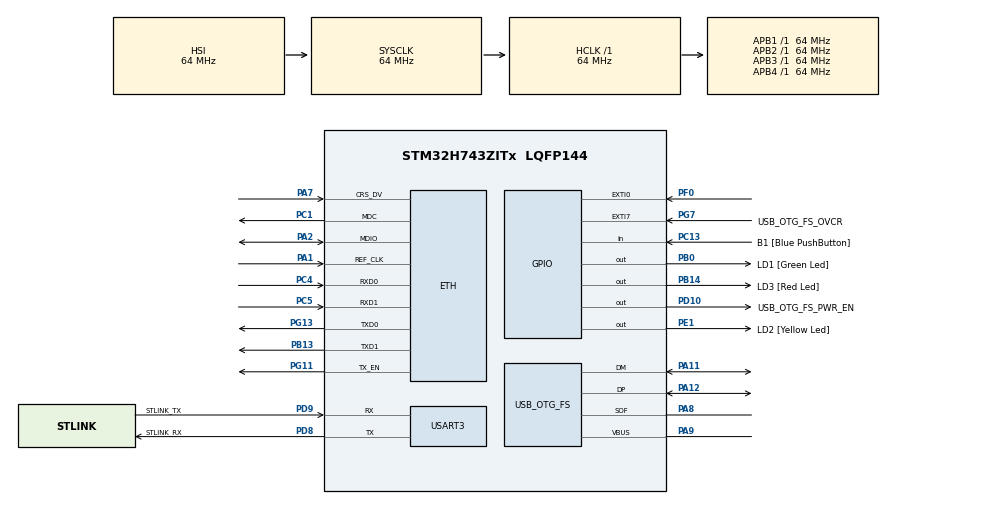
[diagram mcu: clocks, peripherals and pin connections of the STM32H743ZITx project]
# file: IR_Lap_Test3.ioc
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ETH.MediaInterface=HAL_ETH_RMII_MODE
Mcu.Family=STM32H7
Mcu.Name=STM32H743ZITx
Mcu.Package=LQFP144
NVIC.EXTI0_IRQn=true\:0\:0\:false\:false\:true\:true\:true\:true
NVIC.PriorityGroup=NVIC_PRIORITYGROUP_4
PA1.Mode=RMII
PA1.Signal=ETH_REF_CLK
PA11.Mode=Device_Only
PA11.Signal=USB_OTG_FS_DM
PA12.Mode=Device_Only
PA12.Signal=USB_OTG_FS_DP
PA2.Mode=RMII
PA2.Signal=ETH_MDIO
PA7.Mode=RMII
PA7.Signal=ETH_CRS_DV
PA8.Mode=Activate_SOF_FS
PA8.Signal=USB_OTG_FS_SOF
PA9.Mode=Activate_VBUS
PA9.Signal=USB_OTG_FS_VBUS
PB0.GPIO_Label=LD1 [Green Led]
PB0.Signal=GPIO_Output
PB13.Mode=RMII
PB13.Signal=ETH_TXD1
PB14.GPIO_Label=LD3 [Red Led]
PB14.Signal=GPIO_Output
PC1.Mode=RMII
PC1.Signal=ETH_MDC
PC13.GPIO_Label=B1 [Blue PushButton]
PC13.Signal=GPIO_Input
PC14-OSC32_IN\ (OSC32_IN).Mode=LSE-External-Oscillator
PC14-OSC32_IN\ (OSC32_IN).Signal=RCC_OSC32_IN
PC15-OSC32_OUT\ (OSC32_OUT).Mode=LSE-External-Oscillator
PC15-OSC32_OUT\ (OSC32_OUT).Signal=RCC_OSC32_OUT
PC4.Mode=RMII
PC4.Signal=ETH_RXD0
PC5.Mode=RMII
PC5.Signal=ETH_RXD1
PD10.GPIO_Label=USB_OTG_FS_PWR_EN
PD10.Signal=GPIO_Output
PD8.GPIO_Label=STLINK_RX
PD8.Mode=Asynchronous
PD8.Signal=USART3_TX
PD9.GPIO_Label=STLINK_TX
PD9.Mode=Asynchronous
PD9.Signal=USART3_RX
PE1.GPIO_Label=LD2 [Yellow Led]
PE1.Signal=GPIO_Output
PF0.GPIO_ModeDefaultEXTI=GPIO_MODE_IT_FALLING
PF0.Signal=GPXTI0
PG11.Mode=RMII
PG11.Signal=ETH_TX_EN
PG13.Mode=RMII
PG13.Signal=ETH_TXD0
PG7.GPIO_Label=USB_OTG_FS_OVCR
PG7.Signal=GPXTI7
PH0-OSC_IN\ (PH0).Mode=HSE-External-Clock-Source
PH0-OSC_IN\ (PH0).Signal=RCC_OSC_IN
PH1-OSC_OUT\ (PH1).Signal=RCC_OSC_OUT
ProjectManager.HeapSize=0x200
ProjectManager.StackSize=0x400
ProjectManager.TargetToolchain=STM32CubeIDE
RCC.ADCFreq_Value=16125000
RCC.APB1Freq_Value=64000000
RCC.APB2Freq_Value=64000000
RCC.APB3Freq_Value=64000000
RCC.APB4Freq_Value=64000000
RCC.CortexFreq_Value=64000000
RCC.DIVM1=1
RCC.DIVN1=24
RCC.DIVQ1=4
RCC.HCLKFreq_Value=64000000
RCC.HSE_VALUE=8000000
RCC.PLLFRACN=0
RCC.PWR_Regulator_Voltage_Scale=PWR_REGULATOR_VOLTAGE_SCALE2
RCC.SYSCLKFreq_VALUE=64000000
RCC.USBFreq_Value=48000000
TIM2.Prescaler=64000-1
USART3.VirtualMode-Asynchronous=VM_ASYNC
USB_OTG_FS.VirtualMode=Device_Only
VP_TIM2_VS_ClockSourceINT.Mode=Internal
board=NUCLEO-H743ZI2

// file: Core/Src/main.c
/* USER CODE BEGIN Header */
/**
  ******************************************************************************
  * @file           : main.c
  * @brief          : Main program body
  ******************************************************************************
  * @attention
  *
  * Copyright (c) 2023 STMicroelectronics.
  * All rights reserved.
  *
  * This software is licensed under terms that can be found in the LICENSE file
  * in the root directory of this software component.
  * If no LICENSE file comes with this software, it is provided AS-IS.
  *
  ******************************************************************************
  */
/* USER CODE END Header */
#include "main.h"
#include "string.h"

/* USER CODE BEGIN Includes */
#include <stdio.h>

/* USER CODE END Includes */

/* USER CODE BEGIN PTD */
void printer(uint32_t runTime, uint8_t lapNumber);
void messanger(char* message);
void EXTI0_IRQHandler(void);

//GLOBAL VARIABLES FOR KEEPING TRACK OF BEST TIME AND LAP ASWELL AS LAP NUMBER
uint32_t lapNumber = 1;
uint32_t bestLap = 1;
uint32_t bestTime = 99999999;
/* USER CODE END PTD */

#if defined ( __ICCARM__ ) /*!< IAR Compiler */
#pragma location=0x30000000
ETH_DMADescTypeDef  DMARxDscrTab[ETH_RX_DESC_CNT]; /* Ethernet Rx DMA Descriptors */
#pragma location=0x30000200
ETH_DMADescTypeDef  DMATxDscrTab[ETH_TX_DESC_CNT]; /* Ethernet Tx DMA Descriptors */

#elif defined ( __CC_ARM )  /* MDK ARM Compiler */

__attribute__((at(0x30000000))) ETH_DMADescTypeDef  DMARxDscrTab[ETH_RX_DESC_CNT]; /* Ethernet Rx DMA Descriptors */
__attribute__((at(0x30000200))) ETH_DMADescTypeDef  DMATxDscrTab[ETH_TX_DESC_CNT]; /* Ethernet Tx DMA Descriptors */

#elif defined ( __GNUC__ ) /* GNU Compiler */
ETH_DMADescTypeDef DMARxDscrTab[ETH_RX_DESC_CNT] __attribute__((section(".RxDecripSection"))); /* Ethernet Rx DMA Descriptors */
ETH_DMADescTypeDef DMATxDscrTab[ETH_TX_DESC_CNT] __attribute__((section(".TxDecripSection")));   /* Ethernet Tx DMA Descriptors */

#endif

ETH_TxPacketConfig TxConfig;

ETH_HandleTypeDef heth;

TIM_HandleTypeDef htim2;

UART_HandleTypeDef huart3;

PCD_HandleTypeDef hpcd_USB_OTG_FS;

void SystemClock_Config(void);
static void MX_GPIO_Init(void);
static void MX_ETH_Init(void);
static void MX_USART3_UART_Init(void);
static void MX_USB_OTG_FS_PCD_Init(void);
static void MX_TIM2_Init(void);

int main(void)
{

  /* MCU Configuration--------------------------------------------------------*/

  /* Reset of all peripherals, Initializes the Flash interface and the Systick. */
  HAL_Init();

  /* Configure the system clock */
  SystemClock_Config();

  /* Initialize all configured peripherals */
  MX_GPIO_Init();
  MX_ETH_Init();
  MX_USART3_UART_Init();
  MX_USB_OTG_FS_PCD_Init();
  MX_TIM2_Init();
  /* USER CODE BEGIN 2 */
  //START THE TIMER FOR THE FIRST LAP
  HAL_TIM_Base_Start_IT(&htim2);
  /* USER CODE END 2 */

  /* Infinite loop */
  while (1)
  {

  }
}

void SystemClock_Config(void)
{
  RCC_OscInitTypeDef RCC_OscInitStruct = {0};
  RCC_ClkInitTypeDef RCC_ClkInitStruct = {0};

  /** Supply configuration update enable
  */
  HAL_PWREx_ConfigSupply(PWR_LDO_SUPPLY);

  /** Configure the main internal regulator output voltage
  */
  __HAL_PWR_VOLTAGESCALING_CONFIG(PWR_REGULATOR_VOLTAGE_SCALE2);

  while(!__HAL_PWR_GET_FLAG(PWR_FLAG_VOSRDY)) {}

  /** Initializes the RCC Oscillators according to the specified parameters
  * in the RCC_OscInitTypeDef structure.
  */
  RCC_OscInitStruct.OscillatorType = RCC_OSCILLATORTYPE_HSI|RCC_OSCILLATORTYPE_HSE;
  RCC_OscInitStruct.HSEState = RCC_HSE_BYPASS;
  RCC_OscInitStruct.HSIState = RCC_HSI_DIV1;
  RCC_OscInitStruct.HSICalibrationValue = RCC_HSICALIBRATION_DEFAULT;
  RCC_OscInitStruct.PLL.PLLState = RCC_PLL_ON;
  RCC_OscInitStruct.PLL.PLLSource = RCC_PLLSOURCE_HSE;
  RCC_OscInitStruct.PLL.PLLM = 1;
  RCC_OscInitStruct.PLL.PLLN = 24;
  RCC_OscInitStruct.PLL.PLLP = 2;
  RCC_OscInitStruct.PLL.PLLQ = 4;
  RCC_OscInitStruct.PLL.PLLR = 2;
  RCC_OscInitStruct.PLL.PLLRGE = RCC_PLL1VCIRANGE_3;
  RCC_OscInitStruct.PLL.PLLVCOSEL = RCC_PLL1VCOWIDE;
  RCC_OscInitStruct.PLL.PLLFRACN = 0;
  if (HAL_RCC_OscConfig(&RCC_OscInitStruct) != HAL_OK)
  {
    Error_Handler();
  }

  /** Initializes the CPU, AHB and APB buses clocks
  */
  RCC_ClkInitStruct.ClockType = RCC_CLOCKTYPE_HCLK|RCC_CLOCKTYPE_SYSCLK
                              |RCC_CLOCKTYPE_PCLK1|RCC_CLOCKTYPE_PCLK2
                              |RCC_CLOCKTYPE_D3PCLK1|RCC_CLOCKTYPE_D1PCLK1;
  RCC_ClkInitStruct.SYSCLKSource = RCC_SYSCLKSOURCE_HSI;
  RCC_ClkInitStruct.SYSCLKDivider = RCC_SYSCLK_DIV1;
  RCC_ClkInitStruct.AHBCLKDivider = RCC_HCLK_DIV1;
  RCC_ClkInitStruct.APB3CLKDivider = RCC_APB3_DIV1;
  RCC_ClkInitStruct.APB1CLKDivider = RCC_APB1_DIV1;
  RCC_ClkInitStruct.APB2CLKDivider = RCC_APB2_DIV1;
  RCC_ClkInitStruct.APB4CLKDivider = RCC_APB4_DIV1;

  if (HAL_RCC_ClockConfig(&RCC_ClkInitStruct, FLASH_LATENCY_1) != HAL_OK)
  {
    Error_Handler();
  }
}

static void MX_ETH_Init(void)
{

   static uint8_t MACAddr[6];

  heth.Instance = ETH;
  MACAddr[0] = 0x00;
  MACAddr[1] = 0x80;
  MACAddr[2] = 0xE1;
  MACAddr[3] = 0x00;
  MACAddr[4] = 0x00;
  MACAddr[5] = 0x00;
  heth.Init.MACAddr = &MACAddr[0];
  heth.Init.MediaInterface = HAL_ETH_RMII_MODE;
  heth.Init.TxDesc = DMATxDscrTab;
  heth.Init.RxDesc = DMARxDscrTab;
  heth.Init.RxBuffLen = 1524;

  if (HAL_ETH_Init(&heth) != HAL_OK)
  {
    Error_Handler();
  }

  memset(&TxConfig, 0 , sizeof(ETH_TxPacketConfig));
  TxConfig.Attributes = ETH_TX_PACKETS_FEATURES_CSUM | ETH_TX_PACKETS_FEATURES_CRCPAD;
  TxConfig.ChecksumCtrl = ETH_CHECKSUM_IPHDR_PAYLOAD_INSERT_PHDR_CALC;
  TxConfig.CRCPadCtrl = ETH_CRC_PAD_INSERT;

}

static void MX_TIM2_Init(void)
{

  TIM_ClockConfigTypeDef sClockSourceConfig = {0};
  TIM_MasterConfigTypeDef sMasterConfig = {0};

  htim2.Instance = TIM2;
  htim2.Init.Prescaler = 64000-1;
  htim2.Init.CounterMode = TIM_COUNTERMODE_UP;
  htim2.Init.Period = 4294967295;
  htim2.Init.ClockDivision = TIM_CLOCKDIVISION_DIV1;
  htim2.Init.AutoReloadPreload = TIM_AUTORELOAD_PRELOAD_DISABLE;
  if (HAL_TIM_Base_Init(&htim2) != HAL_OK)
  {
    Error_Handler();
  }
  sClockSourceConfig.ClockSource = TIM_CLOCKSOURCE_INTERNAL;
  if (HAL_TIM_ConfigClockSource(&htim2, &sClockSourceConfig) != HAL_OK)
  {
    Error_Handler();
  }
  sMasterConfig.MasterOutputTrigger = TIM_TRGO_RESET;
  sMasterConfig.MasterSlaveMode = TIM_MASTERSLAVEMODE_DISABLE;
  if (HAL_TIMEx_MasterConfigSynchronization(&htim2, &sMasterConfig) != HAL_OK)
  {
    Error_Handler();
  }

}

static void MX_USART3_UART_Init(void)
{

  huart3.Instance = USART3;
  huart3.Init.BaudRate = 115200;
  huart3.Init.WordLength = UART_WORDLENGTH_8B;
  huart3.Init.StopBits = UART_STOPBITS_1;
  huart3.Init.Parity = UART_PARITY_NONE;
  huart3.Init.Mode = UART_MODE_TX_RX;
  huart3.Init.HwFlowCtl = UART_HWCONTROL_NONE;
  huart3.Init.OverSampling = UART_OVERSAMPLING_16;
  huart3.Init.OneBitSampling = UART_ONE_BIT_SAMPLE_DISABLE;
  huart3.Init.ClockPrescaler = UART_PRESCALER_DIV1;
  huart3.AdvancedInit.AdvFeatureInit = UART_ADVFEATURE_NO_INIT;
  if (HAL_UART_Init(&huart3) != HAL_OK)
  {
    Error_Handler();
  }
  if (HAL_UARTEx_SetTxFifoThreshold(&huart3, UART_TXFIFO_THRESHOLD_1_8) != HAL_OK)
  {
    Error_Handler();
  }
  if (HAL_UARTEx_SetRxFifoThreshold(&huart3, UART_RXFIFO_THRESHOLD_1_8) != HAL_OK)
  {
    Error_Handler();
  }
  if (HAL_UARTEx_DisableFifoMode(&huart3) != HAL_OK)
  {
    Error_Handler();
  }

}

static void MX_USB_OTG_FS_PCD_Init(void)
{

  hpcd_USB_OTG_FS.Instance = USB_OTG_FS;
  hpcd_USB_OTG_FS.Init.dev_endpoints = 9;
  hpcd_USB_OTG_FS.Init.speed = PCD_SPEED_FULL;
  hpcd_USB_OTG_FS.Init.dma_enable = DISABLE;
  hpcd_USB_OTG_FS.Init.phy_itface = PCD_PHY_EMBEDDED;
  hpcd_USB_OTG_FS.Init.Sof_enable = ENABLE;
  hpcd_USB_OTG_FS.Init.low_power_enable = DISABLE;
  hpcd_USB_OTG_FS.Init.lpm_enable = DISABLE;
  hpcd_USB_OTG_FS.Init.battery_charging_enable = ENABLE;
  hpcd_USB_OTG_FS.Init.vbus_sensing_enable = ENABLE;
  hpcd_USB_OTG_FS.Init.use_dedicated_ep1 = DISABLE;
  if (HAL_PCD_Init(&hpcd_USB_OTG_FS) != HAL_OK)
  {
    Error_Handler();
  }

}

static void MX_GPIO_Init(void)
{
  GPIO_InitTypeDef GPIO_InitStruct = {0};

  /* GPIO Ports Clock Enable */
  __HAL_RCC_GPIOC_CLK_ENABLE();
  __HAL_RCC_GPIOF_CLK_ENABLE();
  __HAL_RCC_GPIOH_CLK_ENABLE();
  __HAL_RCC_GPIOA_CLK_ENABLE();
  __HAL_RCC_GPIOB_CLK_ENABLE();
  __HAL_RCC_GPIOD_CLK_ENABLE();
  __HAL_RCC_GPIOG_CLK_ENABLE();
  __HAL_RCC_GPIOE_CLK_ENABLE();

  /*Configure GPIO pin Output Level */
  HAL_GPIO_WritePin(GPIOB, LD1_Pin|LD3_Pin, GPIO_PIN_RESET);

  /*Configure GPIO pin Output Level */
  HAL_GPIO_WritePin(USB_OTG_FS_PWR_EN_GPIO_Port, USB_OTG_FS_PWR_EN_Pin, GPIO_PIN_RESET);

  /*Configure GPIO pin Output Level */
  HAL_GPIO_WritePin(LD2_GPIO_Port, LD2_Pin, GPIO_PIN_RESET);

  /*Configure GPIO pin : B1_Pin */
  GPIO_InitStruct.Pin = B1_Pin;
  GPIO_InitStruct.Mode = GPIO_MODE_INPUT;
  GPIO_InitStruct.Pull = GPIO_NOPULL;
  HAL_GPIO_Init(B1_GPIO_Port, &GPIO_InitStruct);

  /*Configure GPIO pin : PF0 */
  GPIO_InitStruct.Pin = GPIO_PIN_0;
  GPIO_InitStruct.Mode = GPIO_MODE_IT_FALLING;
  GPIO_InitStruct.Pull = GPIO_NOPULL;
  HAL_GPIO_Init(GPIOF, &GPIO_InitStruct);

  /*Configure GPIO pins : LD1_Pin LD3_Pin */
  GPIO_InitStruct.Pin = LD1_Pin|LD3_Pin;
  GPIO_InitStruct.Mode = GPIO_MODE_OUTPUT_PP;
  GPIO_InitStruct.Pull = GPIO_NOPULL;
  GPIO_InitStruct.Speed = GPIO_SPEED_FREQ_LOW;
  HAL_GPIO_Init(GPIOB, &GPIO_InitStruct);

  /*Configure GPIO pin : USB_OTG_FS_PWR_EN_Pin */
  GPIO_InitStruct.Pin = USB_OTG_FS_PWR_EN_Pin;
  GPIO_InitStruct.Mode = GPIO_MODE_OUTPUT_PP;
  GPIO_InitStruct.Pull = GPIO_NOPULL;
  GPIO_InitStruct.Speed = GPIO_SPEED_FREQ_LOW;
  HAL_GPIO_Init(USB_OTG_FS_PWR_EN_GPIO_Port, &GPIO_InitStruct);

  /*Configure GPIO pin : USB_OTG_FS_OVCR_Pin */
  GPIO_InitStruct.Pin = USB_OTG_FS_OVCR_Pin;
  GPIO_InitStruct.Mode = GPIO_MODE_IT_RISING;
  GPIO_InitStruct.Pull = GPIO_NOPULL;
  HAL_GPIO_Init(USB_OTG_FS_OVCR_GPIO_Port, &GPIO_InitStruct);

  /*Configure GPIO pin : LD2_Pin */
  GPIO_InitStruct.Pin = LD2_Pin;
  GPIO_InitStruct.Mode = GPIO_MODE_OUTPUT_PP;
  GPIO_InitStruct.Pull = GPIO_NOPULL;
  GPIO_InitStruct.Speed = GPIO_SPEED_FREQ_LOW;
  HAL_GPIO_Init(LD2_GPIO_Port, &GPIO_InitStruct);

  /* EXTI interrupt init*/
  HAL_NVIC_SetPriority(EXTI0_IRQn, 0, 0);
  HAL_NVIC_EnableIRQ(EXTI0_IRQn);

}

/* USER CODE BEGIN 4 */
//PRINTS THE LAP NUMBER AND TIME IT TOOK TO RUN THAT LAP WHEN GIVEN THE TIME AND LAPNUMBER
void printer(uint32_t runTime, uint8_t lapNumber){
	uint8_t minutes = runTime/60000;
	uint8_t seconds = (runTime%60000)/1000;
	uint8_t milliseconds = runTime%1000;
	char buf[255];
	sprintf(buf, "Lap #%u:	%u minutes, %u seconds, %u milliseconds\r\n", lapNumber, minutes, seconds, milliseconds);
	HAL_UART_Transmit(&huart3, buf, strlen(buf), HAL_MAX_DELAY);
}
//PRINTS ANY MESSAGE I NEED, MOSTLY FOR DEBUGGING
void messanger(char* message){
	char buf[255];
	sprintf(buf, "%s\r\n", message);
	HAL_UART_Transmit(&huart3, buf, strlen(buf), HAL_MAX_DELAY);
}
//INTERRUPT THAT HAPPENS WHENEVER THE SENSOR RECIEVES IR INPUT
//IT ENDS AND PRINTS THE TIME AS WELL AS SAVES BEST TIME AND LAP
//ONLY RUNS IF THE TIME OF THE LAP WAS GREATER THAN 3 SECONDS
void HAL_GPIO_EXTI_Callback ( uint16_t GPIO_Pin ){
	uint32_t runTime = (__HAL_TIM_GET_COUNTER(&htim2));
	if(runTime >= 3000){
		printer(runTime, lapNumber);
		if(runTime < bestTime){
			bestTime = runTime;
			bestLap = lapNumber;
		}
		HAL_TIM_Base_Stop(&htim2);
		__HAL_TIM_SET_COUNTER(&htim2, 0);
		HAL_TIM_Base_Start_IT(&htim2);
		lapNumber++;
	}
}
/* USER CODE END 4 */

void Error_Handler(void)
{
  __disable_irq();
  while (1)
  {
  }
}
